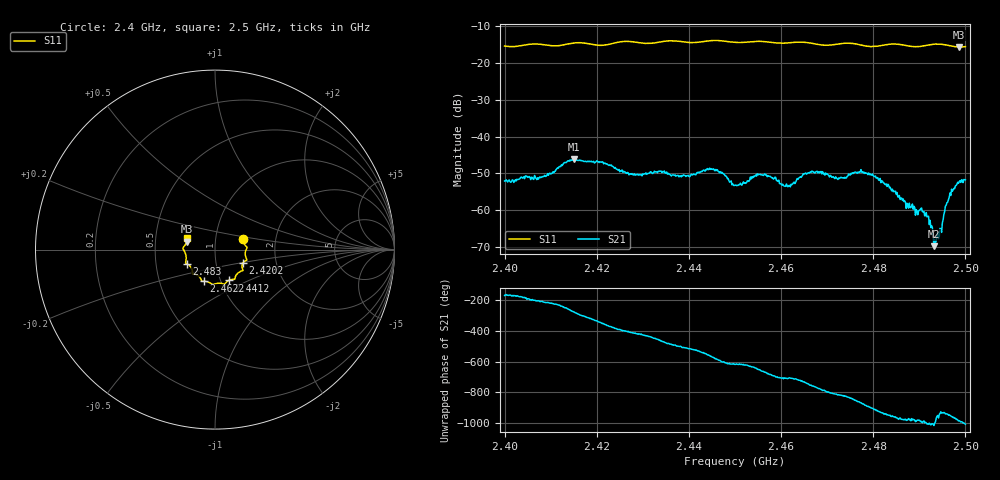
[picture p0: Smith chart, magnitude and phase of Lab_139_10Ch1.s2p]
# Hz S RI R 50
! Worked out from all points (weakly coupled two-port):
!   601 points, 2.4 GHz to 2.5 GHz, reference 50 ohm
!   highest |S21| = -46.15 dB at 2.415 GHz (marker M1); lowest = -69.7 dB at 2.4932 GHz (marker M2)
!   lowest |S11| = -15.7 dB at 2.4987 GHz (marker M3), VSWR 1.39, Z = 36.3 + j3.31 ohm
!   |S11| at or under -10 dB: start of sweep to end of sweep
!   S12 and S22 are empty: the file has one direction only
!   S11 on the Smith chart (normalised r, x): 2.4 GHz: 1.36, +0.17; 2.4202 GHz: 1.36, -0.20; 2.4412 GHz: 1.09, -0.39; 2.4622 GHz: 0.83, -0.30; 2.483 GHz: 0.72, -0.12; 2.5 GHz: 0.73, +0.09
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2.4e9  0.1572 0.0603  -0.00246 -0.000438  0 0  0 0
2.4075e9  0.1784 0.0093  -0.00247 0.00121  0 0  0 0
2.415e9  0.1771 -0.0545  0.000576 0.00489  0 0  0 0
2.416667e9  0.177 -0.0588  0.00236 0.0041  0 0  0 0
2.420167e9  0.157 -0.0724  0.00422 0.0018  0 0  0 0
2.4275e9  0.1536 -0.1176  0.00192 -0.0024  0 0  0 0
2.433333e9  0.1131 -0.1518  -0.000379 -0.00335  0 0  0 0
2.441167e9  0.0759 -0.172  -0.00297 -0.000864  0 0  0 0
2.445667e9  0.0521 -0.1934  -0.00258 0.00227  0 0  0 0
2.45e9  0.0268 -0.187  -0.000441 0.00215  0 0  0 0
2.455333e9  -0.0118 -0.1947  0.00119 0.00285  0 0  0 0
2.462167e9  -0.0624 -0.1767  0.00221 0.000458  0 0  0 0
2.466667e9  -0.0774 -0.1665  0.00273 -0.00204  0 0  0 0
2.4775e9  -0.1262 -0.1183  -0.00288 -0.00159  0 0  0 0
2.483e9  -0.1585 -0.0781  -0.00144 0.00154  0 0  0 0
2.483333e9  -0.1602 -0.0771  -0.00147 0.00164  0 0  0 0
2.4915e9  -0.1716 -0.0072  0.000131 0.000923  0 0  0 0
2.493167e9  -0.1784 0.00361  0.000138 0.000296  0 0  0 0
2.4945e9  -0.1784 0.00929  -0.000457 0.000341  0 0  0 0
2.496167e9  -0.1715 0.0183  -0.000961 0.00086  0 0  0 0
2.498667e9  -0.1571 0.0444  -0.000243 0.00243  0 0  0 0
2.5e9  -0.1536 0.0623  0.000753 0.00248  0 0  0 0
